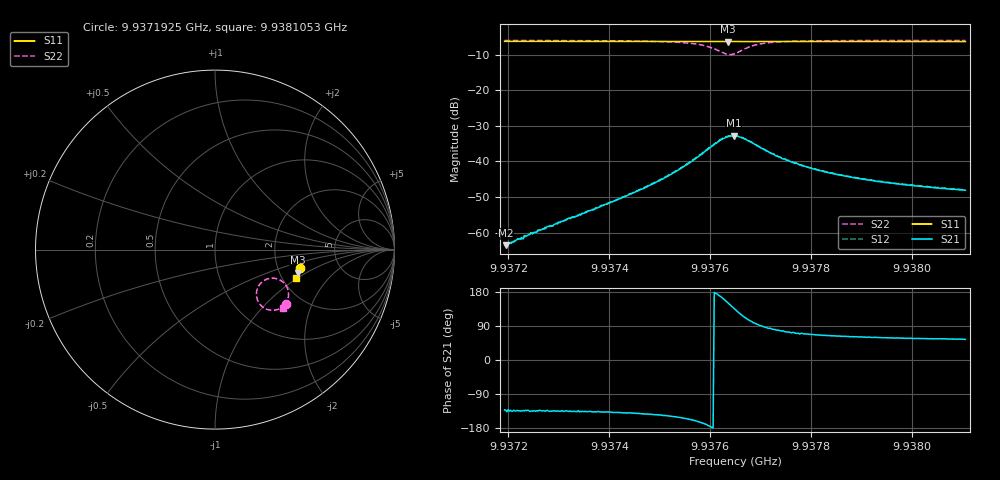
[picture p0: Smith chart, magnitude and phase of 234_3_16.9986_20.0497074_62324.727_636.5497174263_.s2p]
#  HZ  S  RI  R  50.00
! Rohde & Schwarz Vector Network Analyzer
! Rohde-Schwarz,ZNB20-2Port,1311601062101988,3.16
! Created: UTC 3/20/2024, 11:02:36 PM
! freq[Hz]  re:S11  im:S11  re:S21  im:S21  re:S12  im:S12  re:S22  im:S22
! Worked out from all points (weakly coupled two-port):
!   401 points, 9.9371925 GHz to 9.9381053 GHz, reference 50 ohm
!   highest |S21| = -32.79 dB at 9.9376466 GHz (marker M1); lowest = -63.5 dB at 9.9371948 GHz (marker M2)
!   lowest |S11| = -6.4 dB at 9.9376352 GHz (marker M3), VSWR 2.84, Z = 126 - j41.9 ohm
!   |S11| at or under -10 dB: nowhere
!   |S22| runs from -10.0 to -6.1 dB; largest |S21 - S12| = 0.001
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9.9371925e9  0.4736 -0.0997  -0.00045 -0.000506  -0.000472 -0.000444  0.3946 -0.3034
9.93719478e9  0.4735 -0.0998  -0.000452 -0.000494  -0.000463 -0.000493  0.3944 -0.3036
9.93724499e9  0.4726 -0.1035  -0.000698 -0.000698  -0.0007 -0.000718  0.3902 -0.3075
9.9373454e9  0.4705 -0.1101  -0.00134 -0.00129  -0.00131 -0.00128  0.3798 -0.3166
9.93742527e9  0.4689 -0.1155  -0.00236 -0.00203  -0.00239 -0.00203  0.3672 -0.3252
9.9374983e9  0.467 -0.1206  -0.00437 -0.00305  -0.00452 -0.00305  0.3463 -0.3342
9.93754166e9  0.4658 -0.1235  -0.00705 -0.00373  -0.00725 -0.00369  0.3218 -0.338
9.9375873e9  0.464 -0.1265  -0.0131 -0.00285  -0.0134 -0.00257  0.2723 -0.324
9.93760327e9  0.4634 -0.1273  -0.0165 -0.000663  -0.0166 -0.000456  0.2487 -0.3025
9.93761925e9  0.4625 -0.1279  -0.0194 0.00389  -0.0196 0.00458  0.2316 -0.2618
9.93763522e9  0.4619 -0.1281  -0.0195 0.011  -0.0194 0.0118  0.2412 -0.2062
9.93764663e9  0.462 -0.1283  -0.0167 0.0157  -0.0162 0.0165  0.2712 -0.1734
9.93764892e9  0.462 -0.1283  -0.0158 0.0165  -0.0154 0.0173  0.2788 -0.1689
9.93766033e9  0.4622 -0.1287  -0.0111 0.0187  -0.0106 0.0194  0.3188 -0.1589
9.9376763e9  0.4626 -0.1296  -0.00518 0.0185  -0.00465 0.0188  0.3643 -0.1705
9.93770368e9  0.4627 -0.1317  0.000367 0.0151  0.00076 0.0151  0.4003 -0.2084
9.93773335e9  0.4624 -0.134  0.00236 0.0116  0.00261 0.0115  0.4095 -0.24
9.93775617e9  0.4619 -0.1358  0.00281 0.00978  0.0031 0.00981  0.4095 -0.2563
9.93780181e9  0.4609 -0.139  0.00304 0.00736  0.00324 0.00735  0.4057 -0.2772
9.93786799e9  0.4595 -0.1434  0.0029 0.00548  0.00301 0.0055  0.3985 -0.2946
9.93795471e9  0.4572 -0.1492  0.00262 0.00423  0.00273 0.00426  0.3904 -0.3079
9.93810533e9  0.4533 -0.159  0.00229 0.00321  0.00239 0.00323  0.3787 -0.3228
